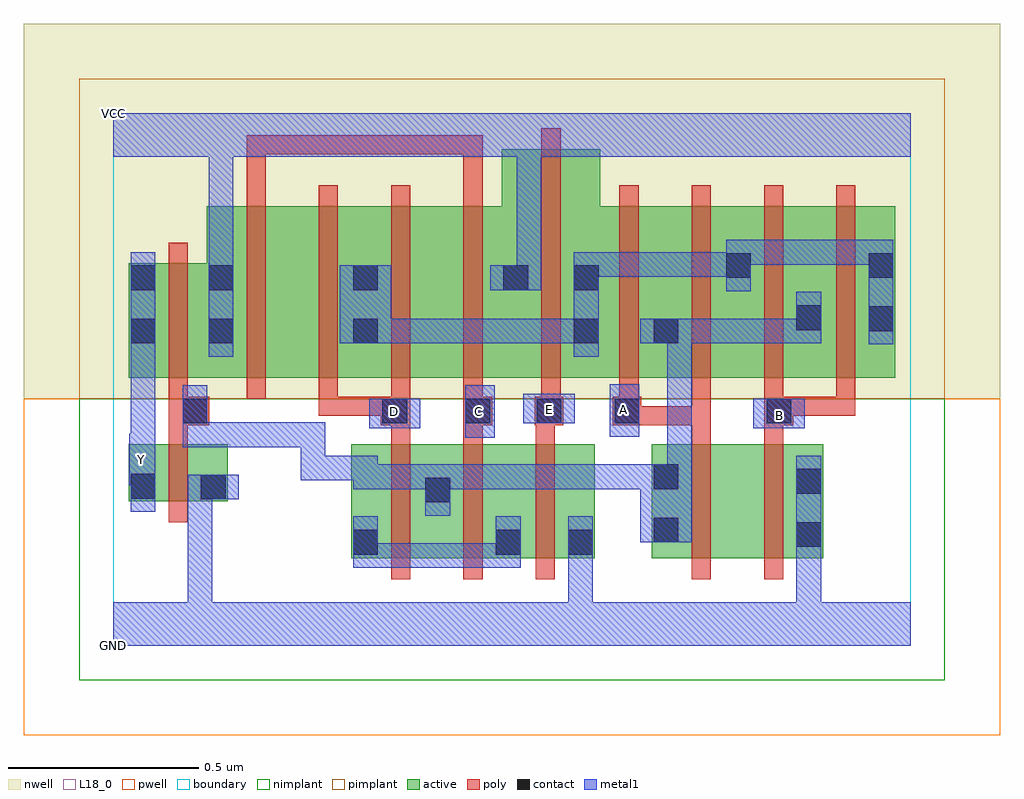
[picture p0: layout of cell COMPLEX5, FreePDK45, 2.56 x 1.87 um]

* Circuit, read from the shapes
.subckt COMPLEX5 A B C D E GND VCC Y
M1 GND n1 Y VSUBS nfet w=0.15u l=0.05u
M2 n1 D n2 VSUBS nfet w=0.3u l=0.05u
M3 n2 C n1 VSUBS nfet w=0.3u l=0.05u
M4 GND E n2 VSUBS nfet w=0.3u l=0.05u
M5 n3 A n1 VSUBS nfet w=0.3u l=0.05u
M6 GND B n3 VSUBS nfet w=0.3u l=0.05u
M7 VCC n1 Y n4 pfet w=0.3u l=0.05u
M8 n5 C VCC n4 pfet w=0.45u l=0.05u
M9 n6 D n5 n4 pfet w=0.45u l=0.05u
M10 n7 D n6 n4 pfet w=0.45u l=0.05u
M11 VCC C n7 n4 pfet w=0.45u l=0.05u
M12 n6 E VCC n4 pfet w=0.6u l=0.05u
M13 n1 A n6 n4 pfet w=0.45u l=0.05u m=2
M14 n1 B n6 n4 pfet w=0.45u l=0.05u m=2
.ends

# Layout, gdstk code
import gdstk
lib = gdstk.Library(unit=1e-6, precision=1e-09)
def R(c, l, rs):  # rectangles x0, y0, x1, y1
    for r in rs: c.add(gdstk.rectangle(r[:2], r[2:], *l))
def A(c, l, x, y, w, h, nx, ny, dx, dy):  # array of equal rectangles
    R(c, l, [(x+i*dx, y+j*dy, x+i*dx+w, y+j*dy+h) for i in range(nx) for j in range(ny)])
active = (1, 0)
pwell = (2, 0)
nwell = (3, 0)
nimplant = (4, 0)
pimplant = (5, 0)
poly = (9, 0)
contact = (10, 0)
metal1 = (11, 0)
L18_0 = (18, 0)
boundary = (235, 0)

complex5 = lib.new_cell('COMPLEX5')
R(complex5, active, [(0.625,0.23,0.89,0.53), (0.815,0.23,1.075,0.53), (1,0.23,1.265,0.53), (1,0.23,1.075,0.397), (1.19,0.23,1.265,0.53), (1.415,0.23,1.64,0.53), (1.64,0.23,1.865,0.53), (0.625,0.235,0.7,0.53), (1.79,0.255,1.865,0.53), (1.415,0.267,1.49,0.53), (0.815,0.295,0.89,0.447), (0.04,0.38,0.115,0.53), (0.04,0.38,0.3,0.53), (0.225,0.38,0.3,0.53), (0.04,0.705,0.115,1.005), (0.04,0.705,0.32,1.005), (0.245,0.705,0.32,1.005), (0.245,0.705,0.47,1.155), (0.47,0.705,0.7,1.155), (0.625,0.705,0.7,1.155), (0.625,0.705,0.85,1.155), (0.85,0.705,1.095,1.155), (1.02,0.705,1.28,1.305), (1.205,0.705,1.49,1.155), (1.205,0.705,1.28,1.2), (1.415,0.705,1.68,1.155), (1.415,0.705,1.49,1.07), (1.605,0.705,1.68,1.155), (1.605,0.705,1.865,1.155), (1.79,0.705,2.055,1.155), (1.79,0.705,1.865,1.07), (1.98,0.705,2.055,1.155), (1.02,0.722,1.095,1.197)])
R(complex5, pwell, [(-0.235,-0.235,2.33,0.65)])
R(complex5, nwell, [(-0.235,0.65,2.33,1.635)])
R(complex5, nimplant, [(-0.09,-0.09,2.185,0.65)])
R(complex5, pimplant, [(-0.09,0.65,2.185,1.49)])
A(complex5, poly, 0.73, 0.175, 0.05, 0.41, 3, 1, 0.19, 0)
A(complex5, poly, 0.73, 0.535, 0.05, 0.095, 3, 1, 0.19, 0)
A(complex5, poly, 0.54, 0.605, 0.05, 0.095, 3, 1, 0.19, 0)
A(complex5, poly, 0.35, 0.65, 0.05, 0.56, 4, 1, 0.19, 0)
A(complex5, poly, 1.33, 0.65, 0.05, 0.56, 4, 1, 0.19, 0)
R(complex5, poly, [(1.52,0.175,1.57,0.585), (1.71,0.175,1.76,0.585), (0.145,0.325,0.195,0.585), (0.145,0.535,0.195,0.63), (1.52,0.535,1.57,0.63), (1.71,0.535,1.76,0.63), (0.145,0.58,0.252,0.655), (0.702,0.58,0.78,0.655), (0.92,0.58,0.995,0.655), (1.107,0.58,1.182,0.655), (1.312,0.58,1.387,0.655), (1.337,0.58,1.57,0.63), (1.52,0.58,1.57,0.63), (1.52,0.58,1.57,0.63), (1.52,0.58,1.57,0.63), (1.52,0.58,1.57,0.7), (1.71,0.58,1.787,0.655), (0.145,0.605,0.195,0.7), (0.54,0.605,0.59,0.655), (0.54,0.605,0.752,0.655), (0.702,0.605,0.752,0.655), (0.702,0.605,0.752,0.655), (1.125,0.605,1.175,0.7), (1.33,0.605,1.38,0.7), (1.71,0.605,1.76,0.7), (1.737,0.605,1.95,0.655), (1.737,0.605,1.787,0.655), (1.737,0.605,1.787,0.655), (1.9,0.605,1.95,0.7), (1.9,0.605,1.95,0.655), (0.145,0.65,0.195,1.06), (1.125,0.65,1.175,1.36), (0.35,1.16,0.4,1.342), (0.92,1.16,0.97,1.342), (0.35,1.292,0.4,1.342), (0.35,1.292,0.4,1.342), (0.35,1.292,0.4,1.342), (0.35,1.292,0.62,1.342), (0.57,1.292,0.62,1.342), (0.57,1.292,0.62,1.342), (0.57,1.292,0.62,1.342), (0.57,1.292,0.837,1.342), (0.787,1.292,0.837,1.342), (0.787,1.292,0.97,1.342), (0.92,1.292,0.97,1.342), (0.92,1.292,0.97,1.342), (0.92,1.292,0.97,1.342)])
R(complex5, contact, [(0.63,0.24,0.695,0.305), (1.005,0.24,1.07,0.305), (1.195,0.24,1.26,0.305), (1.795,0.26,1.86,0.325), (1.42,0.272,1.485,0.337), (0.82,0.377,0.885,0.442), (0.23,0.385,0.295,0.45), (0.045,0.387,0.11,0.452), (1.795,0.4,1.86,0.465), (1.42,0.412,1.485,0.477), (0.182,0.585,0.247,0.65), (0.707,0.585,0.772,0.65), (0.925,0.585,0.99,0.65), (1.112,0.585,1.177,0.65), (1.317,0.585,1.382,0.65), (1.717,0.585,1.782,0.65), (0.045,0.795,0.11,0.86), (0.25,0.795,0.315,0.86), (0.63,0.795,0.695,0.86), (1.21,0.795,1.275,0.86), (1.42,0.795,1.485,0.86), (1.985,0.827,2.05,0.892), (1.795,0.83,1.86,0.895), (0.045,0.935,0.11,1), (0.25,0.935,0.315,1), (0.63,0.935,0.695,1), (1.025,0.935,1.09,1), (1.21,0.935,1.275,1), (1.61,0.967,1.675,1.032), (1.985,0.967,2.05,1.032)])
R(complex5, metal1, [(0,0,2.095,0.115), (0.195,0.05,0.26,0.115), (0.195,0.05,0.26,0.115), (0.195,0.05,0.26,0.115), (0.195,0.05,0.26,0.115), (0.195,0.05,0.26,0.115), (0.195,0.05,0.26,0.115), (0.195,0.05,0.26,0.45), (1.195,0.05,1.26,0.115), (1.195,0.05,1.26,0.115), (1.195,0.05,1.26,0.115), (1.195,0.05,1.26,0.115), (1.195,0.05,1.26,0.27), (1.795,0.05,1.86,0.115), (1.795,0.05,1.86,0.115), (1.795,0.05,1.86,0.115), (1.795,0.05,1.86,0.115), (1.795,0.05,1.86,0.29), (0.63,0.205,0.695,0.27), (0.63,0.205,0.695,0.27), (0.63,0.205,0.695,0.34), (0.63,0.205,0.867,0.27), (0.802,0.205,0.867,0.27), (0.802,0.205,0.867,0.27), (0.802,0.205,0.867,0.27), (0.802,0.205,1.07,0.27), (1.005,0.205,1.07,0.34), (1.195,0.205,1.26,0.34), (1.795,0.225,1.86,0.5), (1.385,0.272,1.52,0.477), (0.82,0.342,0.885,0.477), (0.045,0.352,0.11,0.487), (0.195,0.385,0.33,0.45), (0.63,0.412,0.885,0.477), (0.63,0.412,0.695,0.5), (0.82,0.412,0.885,0.477), (0.82,0.412,0.885,0.477), (0.82,0.412,1.122,0.477), (1.057,0.412,1.122,0.477), (1.057,0.412,1.122,0.477), (1.057,0.412,1.122,0.477), (1.057,0.412,1.26,0.477), (1.195,0.412,1.26,0.477), (1.195,0.412,1.26,0.477), (1.195,0.412,1.26,0.477), (1.195,0.412,1.45,0.477), (1.455,0.412,1.52,0.86), (0.042,0.422,0.11,0.557), (0.045,0.422,0.11,0.487), (0.492,0.435,0.695,0.5), (0.492,0.435,0.557,0.587), (0.63,0.435,0.695,0.5), (0.63,0.435,0.695,0.5), (0.045,0.492,0.11,0.825), (0.182,0.522,0.247,0.587), (0.182,0.522,0.42,0.587), (0.182,0.522,0.247,0.615), (0.355,0.522,0.42,0.587), (0.355,0.522,0.42,0.587), (0.355,0.522,0.42,0.587), (0.355,0.522,0.557,0.587), (0.925,0.547,1.002,0.685), (0.182,0.55,0.247,0.615), (0.182,0.55,0.247,0.615), (0.182,0.55,0.247,0.685), (1.305,0.55,1.382,0.687), (0.672,0.572,0.807,0.65), (1.682,0.572,1.817,0.65), (1.077,0.585,1.212,0.662), (0.045,0.76,0.11,1.035), (0.25,0.76,0.315,1.035), (1.21,0.76,1.275,1.035), (1.985,0.792,2.05,1.067), (0.595,0.795,0.73,1), (0.665,0.795,0.73,0.86), (0.665,0.795,0.73,0.86), (0.665,0.795,0.885,0.86), (0.82,0.795,0.885,0.86), (0.82,0.795,0.885,0.86), (0.82,0.795,0.885,0.86), (0.82,0.795,1.022,0.86), (0.957,0.795,1.022,0.86), (0.957,0.795,1.022,0.86), (0.957,0.795,1.022,0.86), (0.957,0.795,1.275,0.86), (1.385,0.795,1.52,0.86), (1.455,0.795,1.52,0.86), (1.455,0.795,1.52,0.86), (1.455,0.795,1.52,0.86), (1.455,0.795,1.52,0.86), (1.455,0.795,1.722,0.86), (1.657,0.795,1.722,0.86), (1.657,0.795,1.722,0.86), (1.657,0.795,1.722,0.86), (1.657,0.795,1.86,0.86), (1.795,0.795,1.86,0.93), (1.61,0.932,1.675,1.067), (0.99,0.935,1.125,1), (1.06,0.935,1.125,1.35), (0.25,0.97,0.315,1.035), (0.25,0.97,0.315,1.035), (0.25,0.97,0.315,1.35), (1.21,0.97,1.275,1.035), (1.21,0.97,1.275,1.035), (1.21,0.97,1.275,1.035), (1.21,0.97,1.275,1.035), (1.21,0.97,1.537,1.035), (1.472,0.97,1.537,1.035), (1.472,0.97,1.537,1.035), (1.472,0.97,1.537,1.035), (1.472,0.97,1.675,1.035), (1.61,1.002,1.912,1.067), (1.847,1.002,1.912,1.067), (1.847,1.002,1.912,1.067), (1.847,1.002,1.912,1.067), (1.847,1.002,2.05,1.067), (1.985,1.002,2.05,1.067), (1.985,1.002,2.05,1.067), (0,1.285,2.095,1.4)])
R(complex5, L18_0, [(0,0,2.095,0.115), (0.195,0.05,0.26,0.115), (0.195,0.05,0.26,0.115), (0.195,0.05,0.26,0.115), (0.195,0.05,0.26,0.115), (0.195,0.05,0.26,0.115), (0.195,0.05,0.26,0.115), (0.195,0.05,0.26,0.45), (1.195,0.05,1.26,0.115), (1.195,0.05,1.26,0.115), (1.195,0.05,1.26,0.115), (1.195,0.05,1.26,0.115), (1.195,0.05,1.26,0.27), (1.795,0.05,1.86,0.115), (1.795,0.05,1.86,0.115), (1.795,0.05,1.86,0.115), (1.795,0.05,1.86,0.115), (1.795,0.05,1.86,0.29), (1.195,0.205,1.26,0.34), (1.795,0.225,1.86,0.5), (0.045,0.352,0.11,0.487), (0.195,0.385,0.33,0.45), (0.042,0.422,0.11,0.557), (0.045,0.422,0.11,0.487), (0.042,0.457,0.107,0.522), (0.045,0.492,0.11,0.825), (0.925,0.547,1.002,0.685), (1.305,0.55,1.382,0.687), (0.672,0.572,0.807,0.65), (1.682,0.572,1.817,0.65), (1.717,0.572,1.782,0.637), (0.707,0.582,0.772,0.647), (0.927,0.582,0.992,0.647), (1.077,0.585,1.212,0.662), (1.112,0.587,1.177,0.652), (1.307,0.587,1.372,0.652), (0.045,0.76,0.11,1.035), (0.25,0.76,0.315,1.035), (0.99,0.935,1.125,1), (1.06,0.935,1.125,1.35), (0.25,0.97,0.315,1.035), (0.25,0.97,0.315,1.035), (0.25,0.97,0.315,1.35), (0,1.285,2.095,1.4)])
R(complex5, boundary, [(0,0,2.095,1.4)])
complex5.add(gdstk.Label('A', (1.34,0.62), layer=11, texttype=0))
complex5.add(gdstk.Label('B', (1.75,0.605), layer=11, texttype=0))
complex5.add(gdstk.Label('C', (0.96,0.615), layer=11, texttype=0))
complex5.add(gdstk.Label('D', (0.74,0.615), layer=11, texttype=0))
complex5.add(gdstk.Label('E', (1.145,0.62), layer=11, texttype=0))
complex5.add(gdstk.Label('Y', (0.075,0.49), layer=11, texttype=0))
complex5.add(gdstk.Label('VCC', (0,1.4), layer=11, texttype=0))
complex5.add(gdstk.Label('GND', (0,0), layer=11, texttype=0))

lib.write_gds('COMPLEX5.gds')
